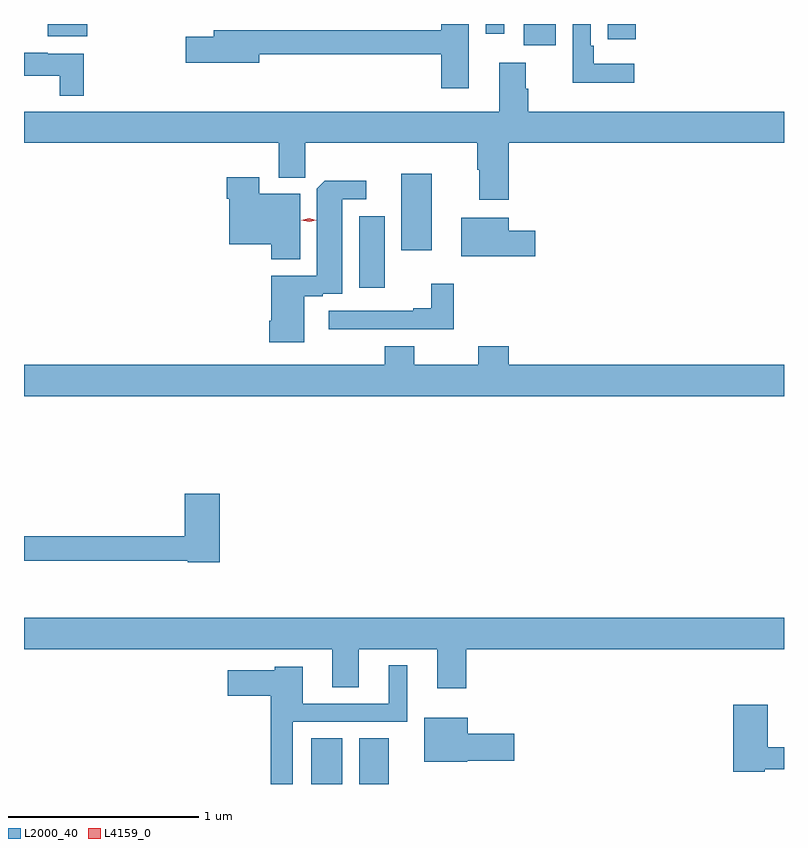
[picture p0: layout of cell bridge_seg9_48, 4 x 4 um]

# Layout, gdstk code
import gdstk
lib = gdstk.Library(unit=1e-6, precision=1e-09)
def R(c, l, rs):  # rectangles x0, y0, x1, y1
    for r in rs: c.add(gdstk.rectangle(r[:2], r[2:], *l))
def P(c, l, *ps):  # polygons
    for p in ps: c.add(gdstk.Polygon(p, *l))
L2000_40 = (2000, 40)
L4159_0 = (4159, 0)

bridge_seg9_48 = lib.new_cell('bridge_seg9_48')
R(bridge_seg9_48, L2000_40, [(910.142,1178.394,910.306,1178.636), (910.394,1178.394,910.549,1178.636), (910.394,1181.007,910.528,1181.383), (910.616,1181.202,910.777,1181.605), (911.261,1182.282,911.428,1182.394), (911.703,1182.315,911.851,1182.394), (908.756,1182.329,908.962,1182.394), (911.061,1182.342,911.157,1182.394)])
P(bridge_seg9_48, L2000_40, [(910.972,1182.394),(910.826,1182.394),(910.826,1182.362),(909.629,1182.362),(909.629,1182.326),(909.48,1182.326),(909.48,1182.191),(909.868,1182.191),(909.868,1182.234),(910.826,1182.234),(910.826,1182.057),(910.972,1182.057)],
  [(911.842,1182.184),(911.629,1182.184),(911.629,1182.28),(911.613,1182.28),(911.613,1182.394),(911.517,1182.394),(911.517,1182.086),(911.842,1182.086)],
  [(908.945,1182.238),(908.754,1182.238),(908.754,1182.244),(908.63,1182.244),(908.63,1182.122),(908.817,1182.122),(908.817,1182.017),(908.945,1182.017)],
  [(908.63,1181.768),(909.971,1181.768),(909.971,1181.586),(910.109,1181.586),(910.109,1181.768),(911.015,1181.768),(911.015,1181.627),(911.027,1181.627),(911.027,1181.469),(911.18,1181.469),(911.18,1181.768),(912.63,1181.768),(912.63,1181.932),(911.285,1181.932),(911.285,1182.053),(911.272,1182.053),(911.272,1182.19),(911.132,1182.19),(911.132,1181.932),(908.63,1181.932)],
  [(910.084,1181.5),(909.868,1181.5),(909.868,1181.587),(909.698,1181.587),(909.698,1181.474),(909.71,1181.474),(909.71,1181.234),(909.932,1181.234),(909.932,1181.155),(910.084,1181.155)],
  [(910.105,1180.962),(910.202,1180.962),(910.202,1180.974),(910.306,1180.974),(910.306,1181.472),(910.432,1181.472),(910.432,1181.57),(910.214,1181.57),(910.172,1181.528),(910.172,1181.07),(909.932,1181.07),(909.932,1180.831),(909.92,1180.831),(909.92,1180.719),(910.105,1180.719)],
  [(911.32,1181.305),(911.182,1181.305),(911.182,1181.374),(910.931,1181.374),(910.931,1181.171),(911.32,1181.171)],
  [(910.892,1181.026),(910.774,1181.026),(910.774,1180.897),(910.679,1180.897),(910.679,1180.884),(910.233,1180.884),(910.233,1180.788),(910.892,1180.788)],
  [(912.63,1180.6),(911.18,1180.6),(911.18,1180.699),(911.02,1180.699),(911.02,1180.6),(910.683,1180.6),(910.683,1180.699),(910.528,1180.699),(910.528,1180.6),(908.63,1180.6),(908.63,1180.436),(912.63,1180.436)],
  [(909.659,1179.922),(909.476,1179.922),(909.476,1179.698),(908.63,1179.698),(908.63,1179.57),(909.492,1179.57),(909.492,1179.562),(909.659,1179.562)],
  [(910.958,1179.104),(912.63,1179.104),(912.63,1179.268),(908.63,1179.268),(908.63,1179.104),(910.253,1179.104),(910.253,1178.902),(910.393,1178.902),(910.393,1179.104),(910.805,1179.104),(910.805,1178.898),(910.958,1178.898)],
  [(910.044,1178.721),(910.648,1178.721),(910.648,1179.019),(910.55,1179.019),(910.55,1178.817),(910.096,1178.817),(910.096,1179.01),(909.951,1179.01),(909.951,1178.992),(909.702,1178.992),(909.702,1178.858),(909.928,1178.858),(909.928,1178.394),(910.044,1178.394)],
  [(912.528,1178.472),(912.63,1178.472),(912.63,1178.588),(912.545,1178.588),(912.545,1178.812),(912.362,1178.812),(912.362,1178.459),(912.528,1178.459)],
  [(910.962,1178.516),(911.209,1178.516),(911.209,1178.658),(910.966,1178.658),(910.966,1178.743),(910.736,1178.743),(910.736,1178.51),(910.962,1178.51)])
P(bridge_seg9_48, L4159_0, [(910.13,1181.352),(910.09,1181.362),(910.09,1181.362),(910.09,1181.362),(910.13,1181.372),(910.169,1181.362),(910.169,1181.362),(910.169,1181.362)])

lib.write_gds('bridge_seg9_48.gds')
